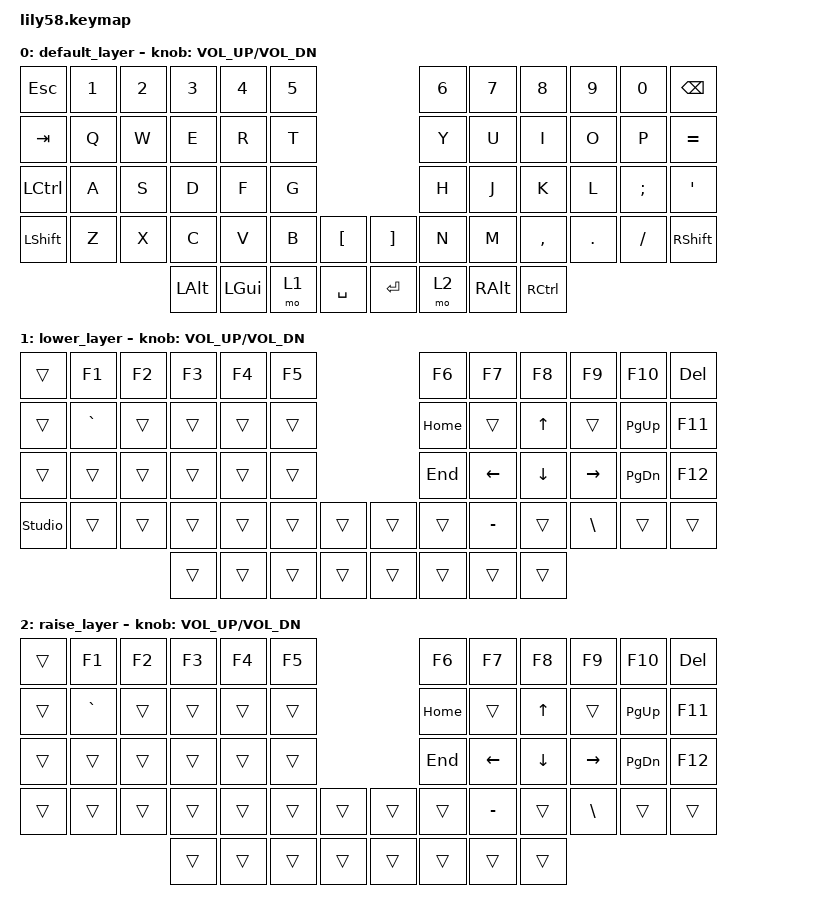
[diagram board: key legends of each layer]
/*
 * Copyright (c) 2020 The ZMK Contributors
 *
 * SPDX-License-Identifier: MIT
 */

#include <behaviors.dtsi>
#include <dt-bindings/zmk/keys.h>

/ {
    keymap {
        compatible = "zmk,keymap";

        default_layer {
            // ------------------------------------------------------------------------------------------------------------
            // |  ESC  |  1  |  2  |  3   |  4   |  5   |                   |  6   |  7    |  8    |  9   |   0   |   `   |
            // |  TAB  |  Q  |  W  |  E   |  R   |  T   |                   |  Y   |  U    |  I    |  O   |   P   |   -   |
            // |  CTRL |  A  |  S  |  D   |  F   |  G   |                   |  H   |  J    |  K    |  L   |   ;   |   '   |
            // | SHIFT |  Z  |  X  |  C   |  V   |  B   |   "["  |  |  "]"  |  N   |  M    |  ,    |  .   |   /   | SHIFT |
            //                     | ALT  | GUI  | LOWER|  ENTER |  | SPACE | RAISE| BSPC  | GUI   |

            bindings = <
&kp ESC    &kp N1  &kp N2  &kp N3    &kp N4    &kp N5                         &kp N6  &kp N7         &kp N8             &kp N9   &kp N0    &kp BACKSPACE
&kp TAB    &kp Q   &kp W   &kp E     &kp R     &kp T                          &kp Y   &kp U          &kp I              &kp O    &kp P     &kp EQUAL
&kp LCTRL  &kp A   &kp S   &kp D     &kp F     &kp G                          &kp H   &kp J          &kp K              &kp L    &kp SEMI  &kp SQT
&kp LSHFT  &kp Z   &kp X   &kp C     &kp V     &kp B   &kp LBKT     &kp RBKT  &kp N   &kp M          &kp COMMA          &kp DOT  &kp FSLH  &kp RSHFT
                           &kp LALT  &kp LGUI  &mo 1   &kp SPACE    &kp RET   &mo 2   &kp RIGHT_ALT  &kp RIGHT_CONTROL
            >;

            sensor-bindings = <&inc_dec_kp C_VOL_UP C_VOL_DN>;
        };

        lower_layer {
            // ------------------------------------------------------------------------------------------------------------
            // | BTCLR | BT1 | BT2 |  BT3 |  BT4 |  BT5 |                   |      |       |       |      |       |       |
            // |  F1   |  F2 |  F3 |  F4  |  F5  |  F6  |                   |  F7  |  F8   |  F9   |  F10 |  F11  |  F12  |
            // |   `   |  !  |  @  |  #   |  $   |  %   |                   |  ^   |  &    |  *    |  (   |   )   |   ~   |
            // |       |     |     |      |      |      |        |  |       |      |  _    |  +    |  {   |   }   |  "|"  |
            //                     |      |      |      |        |  |       |      |       |       |

            bindings = <
&trans          &kp F1     &kp F2  &kp F3  &kp F4  &kp F5                    &kp F6    &kp F7          &kp F8          &kp F9           &kp F10        &kp DEL
&trans          &kp GRAVE  &trans  &trans  &trans  &trans                    &kp HOME  &trans          &kp UP_ARROW    &trans           &kp PG_UP      &kp F11
&trans          &trans     &trans  &trans  &trans  &trans                    &kp END   &kp LEFT_ARROW  &kp DOWN_ARROW  &kp RIGHT_ARROW  &kp PAGE_DOWN  &kp F12
&studio_unlock  &trans     &trans  &trans  &trans  &trans  &trans    &trans  &trans    &kp MINUS       &trans          &kp BACKSLASH    &trans         &trans
                                   &trans  &trans  &trans  &trans    &trans  &trans    &trans          &trans
            >;

            sensor-bindings = <&inc_dec_kp C_VOL_UP C_VOL_DN>;
        };

        raise_layer {
            // ------------------------------------------------------------------------------------------------------------
            // |       |     |     |      |      |      |                   |      |       |       |      |       |       |
            // |   `   |  1  |  2  |  3   |  4   |  5   |                   |  6   |   7   |   8   |  9   |   0   |       |
            // |   F1  |  F2 |  F3 |  F4  |  F5  |  F6  |                   |      |   <-  |   v   |  ^   |  ->   |       |
            // |   F7  |  F8 |  F9 |  F10 |  F11 |  F12 |        |  |       |  +   |   -   |   =   |  [   |   ]   |   \   |
            //                     |      |      |      |        |  |       |      |       |       |

            bindings = <
&trans  &kp F1     &kp F2  &kp F3  &kp F4  &kp F5                    &kp F6    &kp F7          &kp F8          &kp F9           &kp F10        &kp DEL
&trans  &kp GRAVE  &trans  &trans  &trans  &trans                    &kp HOME  &trans          &kp UP_ARROW    &trans           &kp PG_UP      &kp F11
&trans  &trans     &trans  &trans  &trans  &trans                    &kp END   &kp LEFT_ARROW  &kp DOWN_ARROW  &kp RIGHT_ARROW  &kp PAGE_DOWN  &kp F12
&trans  &trans     &trans  &trans  &trans  &trans  &trans    &trans  &trans    &kp MINUS       &trans          &kp BACKSLASH    &trans         &trans
                           &trans  &trans  &trans  &trans    &trans  &trans    &trans          &trans
            >;

            sensor-bindings = <&inc_dec_kp C_VOL_UP C_VOL_DN>;
        };
    };
};
